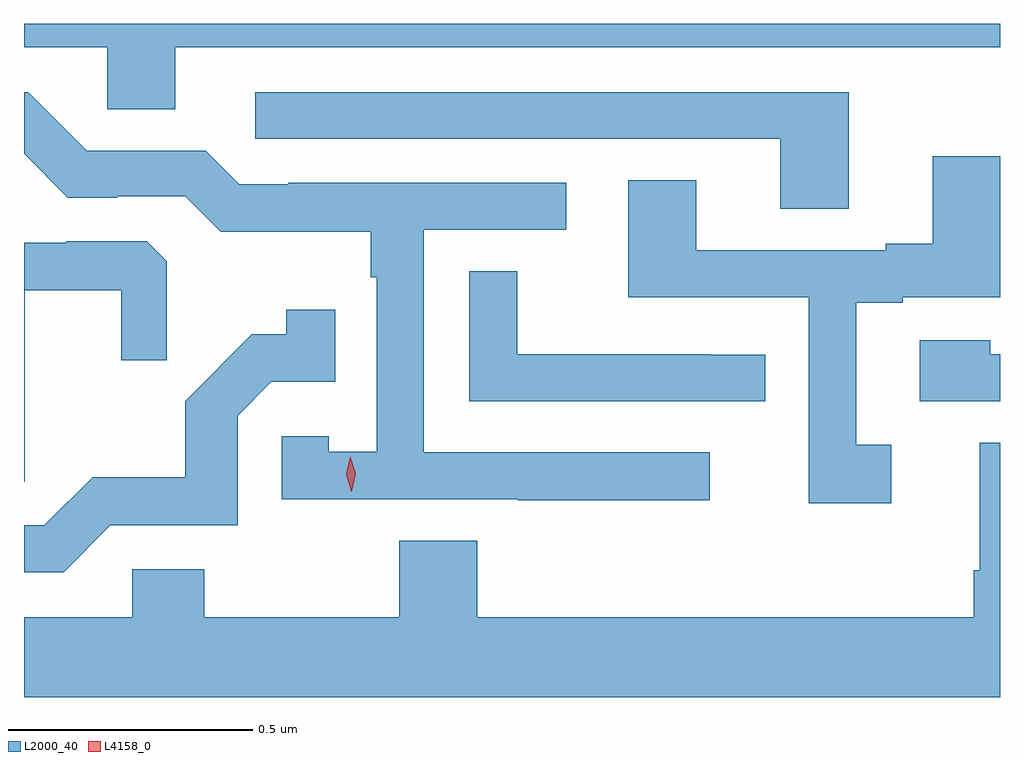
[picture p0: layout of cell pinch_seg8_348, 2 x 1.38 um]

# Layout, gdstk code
import gdstk
lib = gdstk.Library(unit=1e-6, precision=1e-09)
def P(c, l, *ps):  # polygons
    for p in ps: c.add(gdstk.Polygon(p, *l))
L2000_40 = (2000, 40)
L4158_0 = (4158, 0)

pinch_seg8_348 = lib.new_cell('pinch_seg8_348')
P(pinch_seg8_348, L2000_40, [(376.327,1164.452),(378.017,1164.452),(378.017,1164.5),(376.017,1164.5),(376.017,1164.452),(376.188,1164.452),(376.188,1164.325),(376.327,1164.325)],
  [(377.422,1163.622),(376.836,1163.622),(376.836,1164.078),(377.128,1164.078),(377.128,1164.174),(376.558,1164.174),(376.558,1164.171),(376.458,1164.171),(376.389,1164.24),(376.146,1164.24),(376.026,1164.36),(376.017,1164.36),(376.017,1164.234),(376.107,1164.144),(376.208,1164.144),(376.208,1164.147),(376.347,1164.147),(376.42,1164.074),(376.728,1164.074),(376.728,1163.981),(376.74,1163.981),(376.74,1163.623),(376.641,1163.623),(376.641,1163.655),(376.545,1163.655),(376.545,1163.526),(377.029,1163.526),(377.029,1163.524),(377.422,1163.524)],
  [(377.707,1164.36),(376.491,1164.36),(376.491,1164.264),(377.567,1164.264),(377.567,1164.121),(377.707,1164.121)],
  [(377.794,1163.637),(377.722,1163.637),(377.722,1163.928),(377.818,1163.928),(377.818,1163.94),(378.017,1163.94),(378.017,1164.229),(377.879,1164.229),(377.879,1164.049),(377.783,1164.049),(377.783,1164.036),(377.395,1164.036),(377.395,1164.179),(377.255,1164.179),(377.255,1163.94),(377.625,1163.94),(377.625,1163.517),(377.794,1163.517)],
  [(376.019,1163.954),(376.216,1163.954),(376.216,1163.811),(376.31,1163.811),(376.31,1164.013),(376.269,1164.054),(376.104,1164.054),(376.104,1164.051),(376.017,1164.051),(376.017,1163.562),(376.019,1163.562)],
  [(377.536,1163.822),(377.423,1163.822),(377.423,1163.823),(377.028,1163.823),(377.028,1163.993),(376.929,1163.993),(376.929,1163.727),(377.536,1163.727)],
  [(376.194,1163.472),(376.455,1163.472),(376.455,1163.697),(376.524,1163.766),(376.655,1163.766),(376.655,1163.914),(376.554,1163.914),(376.554,1163.864),(376.484,1163.864),(376.347,1163.726),(376.347,1163.571),(376.158,1163.571),(376.059,1163.472),(376.017,1163.472),(376.017,1163.376),(376.098,1163.376)],
  [(378.017,1163.823),(377.997,1163.823),(377.997,1163.851),(377.853,1163.851),(377.853,1163.727),(378.017,1163.727)],
  [(378.017,1163.641),(377.975,1163.641),(377.975,1163.38),(377.963,1163.38),(377.963,1163.284),(376.946,1163.284),(376.946,1163.441),(376.786,1163.441),(376.786,1163.284),(376.386,1163.284),(376.386,1163.382),(376.239,1163.382),(376.239,1163.284),(376.017,1163.284),(376.017,1163.12),(378.017,1163.12)])
P(pinch_seg8_348, L4158_0, [(376.689,1163.541),(376.688,1163.542),(376.677,1163.577),(376.686,1163.613),(376.686,1163.613),(376.686,1163.613),(376.697,1163.578),(376.689,1163.542)])

lib.write_gds('pinch_seg8_348.gds')
